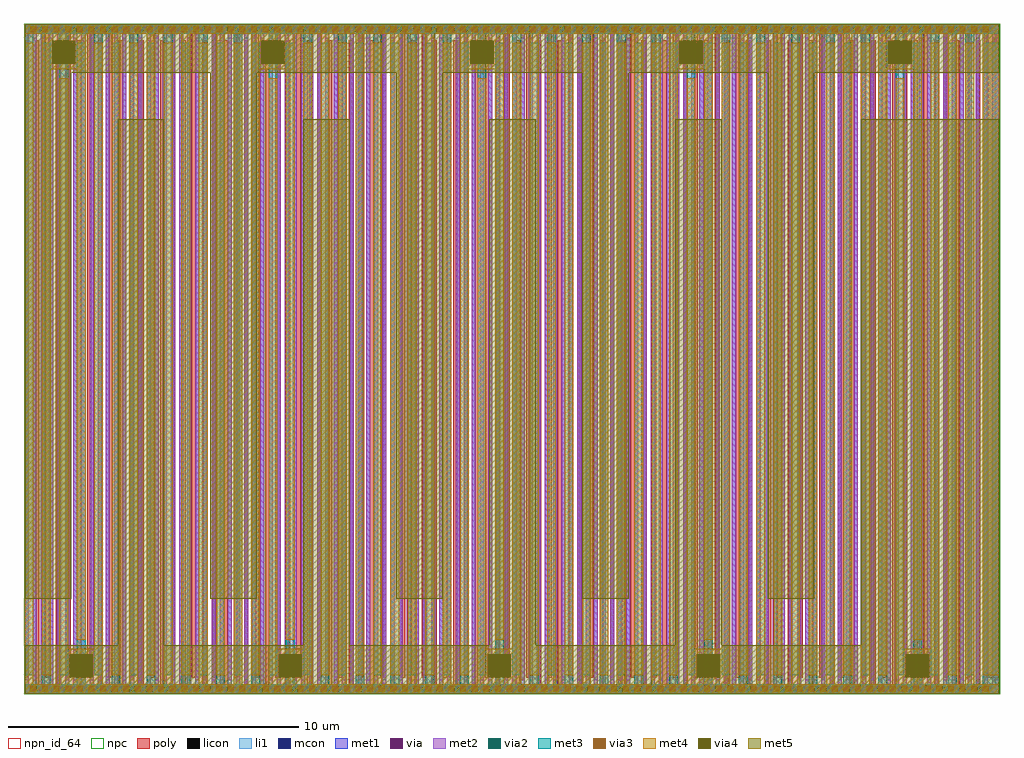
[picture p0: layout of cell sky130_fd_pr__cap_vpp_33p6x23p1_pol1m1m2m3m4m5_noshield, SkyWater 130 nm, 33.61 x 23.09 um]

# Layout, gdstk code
import gdstk
lib = gdstk.Library(unit=1e-6, precision=1e-09)
def R(c, l, rs):  # rectangles x0, y0, x1, y1
    for r in rs: c.add(gdstk.rectangle(r[:2], r[2:], *l))
def A(c, l, x, y, w, h, nx, ny, dx, dy):  # array of equal rectangles
    R(c, l, [(x+i*dx, y+j*dy, x+i*dx+w, y+j*dy+h) for i in range(nx) for j in range(ny)])
poly = (66, 20)
licon = (66, 44)
li1 = (67, 20)
mcon = (67, 44)
met1 = (68, 20)
via = (68, 44)
met2 = (69, 20)
via2 = (69, 44)
met3 = (70, 20)
via3 = (70, 44)
met4 = (71, 20)
via4 = (71, 44)
met5 = (72, 20)
npn_id_64 = (82, 64)
npc = (95, 20)

sky130_fd_pr__cap_vpp_33 = lib.new_cell('sky130_fd_pr__cap_vpp_33p6x23p1_pol1m1m2m3m4m5_noshield')
A(sky130_fd_pr__cap_vpp_33, poly, 0.36, 0.33, 0.15, 22.18, 46, 1, 0.72, 0)
A(sky130_fd_pr__cap_vpp_33, poly, 0, 0.54, 0.15, 22.18, 46, 1, 0.72, 0)
R(sky130_fd_pr__cap_vpp_33, poly, [(0,0,33.57,0.33), (33.12,0.54,33.57,22.72), (0,22.72,33.57,23.05)])
A(sky130_fd_pr__cap_vpp_33, licon, 0.17, 0.08, 0.17, 0.17, 98, 2, 0.34, 22.72)
A(sky130_fd_pr__cap_vpp_33, li1, 0, 0.33, 0.14, 22.25, 60, 1, 0.56, 0)
A(sky130_fd_pr__cap_vpp_33, li1, 0.28, 0.47, 0.14, 22.25, 59, 1, 0.56, 0)
R(sky130_fd_pr__cap_vpp_33, li1, [(0,0,33.57,0.33), (33.32,0.47,33.57,22.72), (0,22.72,33.57,23.05)])
A(sky130_fd_pr__cap_vpp_33, mcon, 0.19, 0.08, 0.17, 0.17, 92, 2, 0.36, 22.72)
A(sky130_fd_pr__cap_vpp_33, met1, 0.28, 0.33, 0.14, 22.25, 59, 1, 0.56, 0)
A(sky130_fd_pr__cap_vpp_33, met1, 0, 0.47, 0.14, 22.25, 60, 1, 0.56, 0)
R(sky130_fd_pr__cap_vpp_33, met1, [(0,0,33.57,0.33), (33.32,0.33,33.57,22.58), (0,22.72,33.57,23.05)])
R(sky130_fd_pr__cap_vpp_33, via, [(0.175,0.09,0.325,0.24), (0.495,0.09,0.645,0.24), (1.235,0.09,1.385,0.24), (1.555,0.09,1.705,0.24), (2.355,0.09,2.505,0.24), (2.675,0.09,2.825,0.24), (3.475,0.09,3.625,0.24), (3.795,0.09,3.945,0.24), (4.595,0.09,4.745,0.24), (4.915,0.09,5.065,0.24), (5.715,0.09,5.865,0.24), (6.035,0.09,6.185,0.24), (6.835,0.09,6.985,0.24), (7.155,0.09,7.305,0.24), (7.955,0.09,8.105,0.24), (8.275,0.09,8.425,0.24), (9.075,0.09,9.225,0.24), (9.395,0.09,9.545,0.24), (10.195,0.09,10.345,0.24), (10.515,0.09,10.665,0.24), (11.315,0.09,11.465,0.24), (11.635,0.09,11.785,0.24), (12.435,0.09,12.585,0.24), (12.755,0.09,12.905,0.24), (13.555,0.09,13.705,0.24), (13.875,0.09,14.025,0.24), (14.675,0.09,14.825,0.24), (14.995,0.09,15.145,0.24), (15.795,0.09,15.945,0.24), (16.115,0.09,16.265,0.24), (16.915,0.09,17.065,0.24), (17.235,0.09,17.385,0.24), (18.035,0.09,18.185,0.24), (18.355,0.09,18.505,0.24), (19.155,0.09,19.305,0.24), (19.475,0.09,19.625,0.24), (20.275,0.09,20.425,0.24), (20.595,0.09,20.745,0.24), (21.395,0.09,21.545,0.24), (21.715,0.09,21.865,0.24), (22.515,0.09,22.665,0.24), (22.835,0.09,22.985,0.24), (23.635,0.09,23.785,0.24), (23.955,0.09,24.105,0.24), (24.755,0.09,24.905,0.24), (25.075,0.09,25.225,0.24), (25.875,0.09,26.025,0.24), (26.195,0.09,26.345,0.24), (26.995,0.09,27.145,0.24), (27.315,0.09,27.465,0.24), (28.115,0.09,28.265,0.24), (28.435,0.09,28.585,0.24), (29.235,0.09,29.385,0.24), (29.555,0.09,29.705,0.24), (30.355,0.09,30.505,0.24), (30.675,0.09,30.825,0.24), (31.475,0.09,31.625,0.24), (31.795,0.09,31.945,0.24), (32.595,0.09,32.745,0.24), (32.915,0.09,33.065,0.24), (0.395,22.81,0.545,22.96), (0.715,22.81,0.865,22.96), (1.515,22.81,1.665,22.96), (1.835,22.81,1.985,22.96), (2.635,22.81,2.785,22.96), (2.955,22.81,3.105,22.96), (3.755,22.81,3.905,22.96), (4.075,22.81,4.225,22.96), (4.875,22.81,5.025,22.96), (5.195,22.81,5.345,22.96), (5.995,22.81,6.145,22.96), (6.315,22.81,6.465,22.96), (7.115,22.81,7.265,22.96), (7.435,22.81,7.585,22.96), (8.235,22.81,8.385,22.96), (8.555,22.81,8.705,22.96), (9.355,22.81,9.505,22.96), (9.675,22.81,9.825,22.96), (10.475,22.81,10.625,22.96), (10.795,22.81,10.945,22.96), (11.595,22.81,11.745,22.96), (11.915,22.81,12.065,22.96), (12.715,22.81,12.865,22.96), (13.035,22.81,13.185,22.96), (13.835,22.81,13.985,22.96), (14.155,22.81,14.305,22.96), (14.955,22.81,15.105,22.96), (15.275,22.81,15.425,22.96), (16.075,22.81,16.225,22.96), (16.395,22.81,16.545,22.96), (17.195,22.81,17.345,22.96), (17.515,22.81,17.665,22.96), (18.315,22.81,18.465,22.96), (18.635,22.81,18.785,22.96), (19.435,22.81,19.585,22.96), (19.755,22.81,19.905,22.96), (20.555,22.81,20.705,22.96), (20.875,22.81,21.025,22.96), (21.675,22.81,21.825,22.96), (21.995,22.81,22.145,22.96), (22.795,22.81,22.945,22.96), (23.115,22.81,23.265,22.96), (23.915,22.81,24.065,22.96), (24.235,22.81,24.385,22.96), (25.035,22.81,25.185,22.96), (25.355,22.81,25.505,22.96), (26.155,22.81,26.305,22.96), (26.475,22.81,26.625,22.96), (27.275,22.81,27.425,22.96), (27.595,22.81,27.745,22.96), (28.395,22.81,28.545,22.96), (28.715,22.81,28.865,22.96), (29.515,22.81,29.665,22.96), (29.835,22.81,29.985,22.96), (30.635,22.81,30.785,22.96), (30.955,22.81,31.105,22.96), (31.755,22.81,31.905,22.96), (32.075,22.81,32.225,22.96)])
A(sky130_fd_pr__cap_vpp_33, met2, 0, 0, 0.7, 0.33, 29, 1, 1.12, 0)
A(sky130_fd_pr__cap_vpp_33, met2, 0.84, 0, 0.14, 0.47, 29, 1, 1.12, 0)
A(sky130_fd_pr__cap_vpp_33, met2, 0, 0.33, 0.14, 22.25, 60, 1, 0.56, 0)
A(sky130_fd_pr__cap_vpp_33, met2, 0.28, 0.47, 0.14, 22.25, 59, 1, 0.56, 0)
A(sky130_fd_pr__cap_vpp_33, met2, 0, 22.58, 0.14, 0.47, 29, 1, 1.12, 0)
A(sky130_fd_pr__cap_vpp_33, met2, 0.28, 22.72, 0.7, 0.33, 29, 1, 1.12, 0)
R(sky130_fd_pr__cap_vpp_33, met2, [(32.48,0,33.57,0.33), (33.32,0.47,33.57,22.72), (32.34,22.72,33.57,23.05)])
A(sky130_fd_pr__cap_vpp_33, via2, 0.25, 0.065, 0.2, 0.2, 30, 1, 1.12, 0)
A(sky130_fd_pr__cap_vpp_33, via2, 0.53, 22.785, 0.2, 0.2, 29, 1, 1.12, 0)
A(sky130_fd_pr__cap_vpp_33, met3, 0.6, 0.33, 0.3, 22.09, 27, 1, 1.2, 0)
A(sky130_fd_pr__cap_vpp_33, met3, 0, 0.63, 0.3, 22.09, 28, 1, 1.2, 0)
R(sky130_fd_pr__cap_vpp_33, met3, [(0,0,33.57,0.33), (33,0.33,33.57,22.42), (0,22.72,33.57,23.05)])
A(sky130_fd_pr__cap_vpp_33, via3, 0.2, 0.065, 0.2, 0.2, 83, 2, 0.4, 22.72)
A(sky130_fd_pr__cap_vpp_33, met4, 1.2, 0.33, 0.3, 20.865, 5, 1, 7.2, 0)
A(sky130_fd_pr__cap_vpp_33, met4, 1.5, 0.33, 0.9, 0.045, 5, 1, 7.2, 0)
A(sky130_fd_pr__cap_vpp_33, met4, 2.4, 0.33, 0.3, 22.09, 5, 1, 1.2, 0)
A(sky130_fd_pr__cap_vpp_33, met4, 9.6, 0.33, 0.3, 22.09, 5, 1, 1.2, 0)
A(sky130_fd_pr__cap_vpp_33, met4, 16.8, 0.33, 0.3, 22.09, 5, 1, 1.2, 0)
A(sky130_fd_pr__cap_vpp_33, met4, 24, 0.33, 0.3, 22.09, 5, 1, 1.2, 0)
A(sky130_fd_pr__cap_vpp_33, met4, 1.36, 0.375, 1.18, 1.18, 5, 1, 7.2, 0)
A(sky130_fd_pr__cap_vpp_33, met4, 3, 0.63, 0.3, 22.09, 5, 1, 1.2, 0)
A(sky130_fd_pr__cap_vpp_33, met4, 10.2, 0.63, 0.3, 22.09, 5, 1, 1.2, 0)
A(sky130_fd_pr__cap_vpp_33, met4, 17.4, 0.63, 0.3, 22.09, 5, 1, 1.2, 0)
A(sky130_fd_pr__cap_vpp_33, met4, 24.6, 0.63, 0.3, 22.09, 5, 1, 1.2, 0)
A(sky130_fd_pr__cap_vpp_33, met4, 1.8, 1.855, 0.3, 20.865, 5, 1, 7.2, 0)
A(sky130_fd_pr__cap_vpp_33, met4, 0.76, 21.495, 1.18, 1.18, 5, 1, 7.2, 0)
A(sky130_fd_pr__cap_vpp_33, met4, 0.9, 22.675, 0.9, 0.045, 5, 1, 7.2, 0)
R(sky130_fd_pr__cap_vpp_33, met4, [(0,0,33.57,0.33), (0,0.33,0.3,22.42), (31.2,0.33,31.5,22.42), (32.4,0.33,32.7,22.42), (0.6,0.63,0.9,22.72), (31.8,0.63,32.1,22.72), (33,0.63,33.57,22.72), (0,22.72,33.57,23.05)])
A(sky130_fd_pr__cap_vpp_33, via4, 1.55, 0.565, 0.8, 0.8, 5, 1, 7.2, 0)
A(sky130_fd_pr__cap_vpp_33, via4, 0.95, 21.685, 0.8, 0.8, 5, 1, 7.2, 0)
A(sky130_fd_pr__cap_vpp_33, met5, 1.24, 0.255, 1.42, 1.42, 5, 1, 7.2, 0)
A(sky130_fd_pr__cap_vpp_33, met5, 3.2, 1.675, 1.6, 18.1, 4, 1, 6.4, 0)
A(sky130_fd_pr__cap_vpp_33, met5, 0, 3.275, 1.6, 18.1, 5, 1, 6.4, 0)
A(sky130_fd_pr__cap_vpp_33, met5, 0.64, 21.375, 1.42, 1.42, 5, 1, 7.2, 0)
R(sky130_fd_pr__cap_vpp_33, met5, [(0,0,33.57,1.675), (28.8,1.675,33.57,19.775), (0,21.375,33.57,23.05)])
R(sky130_fd_pr__cap_vpp_33, npn_id_64, [(0.13,0.21,33.44,22.84)])
R(sky130_fd_pr__cap_vpp_33, npc, [(-0.02,-0.02,33.59,23.07)])

lib.write_gds('sky130_fd_pr__cap_vpp_33p6x23p1_pol1m1m2m3m4m5_noshield.gds')
